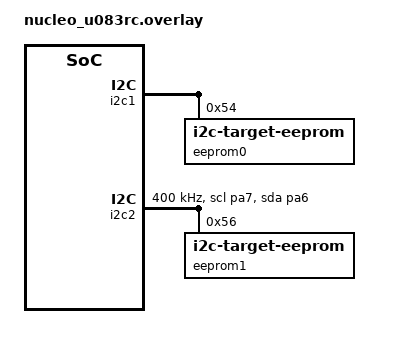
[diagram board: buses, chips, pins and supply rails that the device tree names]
/*
 * Copyright (c) 2024 STMicroelectronics
 * SPDX-License-Identifier: Apache-2.0
 */

/* I2C bus pins are exposed on the ST morpho header.
 *
 *  Bus        SDA               SCL
 *          Pin   Hdr         Pin   Hdr
 *  i2c1    PB9   CN5:9      PB8   CN5:10
 *  i2c2    PA6   CN5:5      PA7   CN5:4
 *
 * Short Pin PB9 to PA6, and PB8 to PA7, for the test to pass.
 */

#define IC2_TEST_0_DMA_TX <&dmamux1 0 10 STM32_DMA_PERIPH_TX>
#define IC2_TEST_0_DMA_RX <&dmamux1 1 9 STM32_DMA_PERIPH_RX>

i2c_test_0: &i2c1 {
	dmas = IC2_TEST_0_DMA_TX, IC2_TEST_0_DMA_RX;
	dma-names = "tx", "rx";

	eeprom0: eeprom@54 {
		compatible = "zephyr,i2c-target-eeprom";
		reg = <0x54>;
		size = <256>;
	};
};

#define IC2_TEST_1_DMA_TX <&dmamux1 2 12 STM32_DMA_PERIPH_TX>
#define IC2_TEST_1_DMA_RX <&dmamux1 3 11 STM32_DMA_PERIPH_RX>

i2c_test_1: &i2c2 {
	pinctrl-0 = <&i2c2_scl_pa7 &i2c2_sda_pa6>;
	pinctrl-names = "default";
	scl-gpios = <&gpioa 7 GPIO_ACTIVE_HIGH>;
	sda-gpios = <&gpioa 6 GPIO_ACTIVE_HIGH>;
	dmas = IC2_TEST_1_DMA_TX, IC2_TEST_1_DMA_RX;
	dma-names = "tx", "rx";
	status = "okay";
	clock-frequency = <I2C_BITRATE_FAST>;

	eeprom1: eeprom@56 {
		compatible = "zephyr,i2c-target-eeprom";
		reg = <0x56>;
		size = <256>;
	};
};

&dma2 {
	status = "okay";
};
